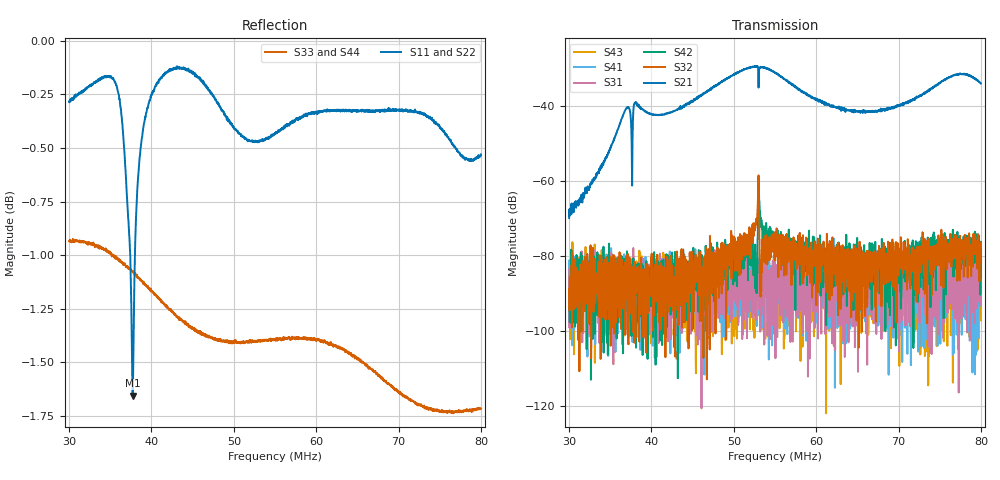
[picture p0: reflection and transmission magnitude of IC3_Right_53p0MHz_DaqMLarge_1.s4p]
#  HZ  S  DB  R  50.00
! Rohde & Schwarz Vector Network Analyzer
! Rohde-Schwarz,ZNB8-4Port,1311601044102961,2.82
! Created: UTC 2/12/2019, 2:07:34 PM
! freq[Hz]  db:S11  ang:S11  db:S12  ang:S12  db:S13  ang:S13  db:S14  ang:S14
!  db:S21  ang:S21  db:S22  ang:S22  db:S23  ang:S23  db:S24  ang:S24
!  db:S31  ang:S31  db:S32  ang:S32  db:S33  ang:S33  db:S34  ang:S34
!  db:S41  ang:S41  db:S42  ang:S42  db:S43  ang:S43  db:S44  ang:S44
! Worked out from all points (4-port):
!   2001 points, 30 MHz to 80 MHz, reference 50 ohm
!   strongest paths, dB at 30 MHz, 42.5 MHz, 55 MHz, 67.5 MHz, 80 MHz:
!     S21: -69.9, -41.5, -30.9, -41.3, -33.9
!     S32: -88.9, -82.5, -78.5, -78.7, -76.4
!     S42: -88.8, -79.1, -74.2, -83.4, -76.2
!     S31: -83.6, -88.0, -84.5, -87.5, -84.3
!     S41: -84.3, -86.6, -91.3, -84.4, -93.3
!     S43: -81.9, -85.8, -90.1, -95.3, -97.2
!   lowest |S11| = -1.7 dB at 37.73 MHz (marker M1), VSWR 10.53, Z = 45.8 - j140 ohm
!   |S11| at or under -10 dB: nowhere
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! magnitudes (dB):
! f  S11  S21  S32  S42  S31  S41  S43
! 30 MHz  -0.3  -69.9  -88.9  -88.8  -83.6  -84.3  -81.9
! 37.73 MHz  -1.7  -45.6  -92.9  -86.3  -86.0  -82.2  -82.2
! 52.55 MHz  -0.5  -29.5  -73.2  -81.2  -86.8  -83.1  -95.5
! 53.2 MHz  -0.5  -29.6  -86.9  -68.6  -100.1  -96.9  -94.5
! 56 MHz  -0.4  -32.5  -79.8  -77.9  -97.8  -82.8  -85.0
! 65.62 MHz  -0.3  -41.6  -82.3  -80.0  -87.0  -88.5  -87.1
! 80 MHz  -0.5  -33.9  -76.4  -76.2  -84.3  -93.3  -97.2
